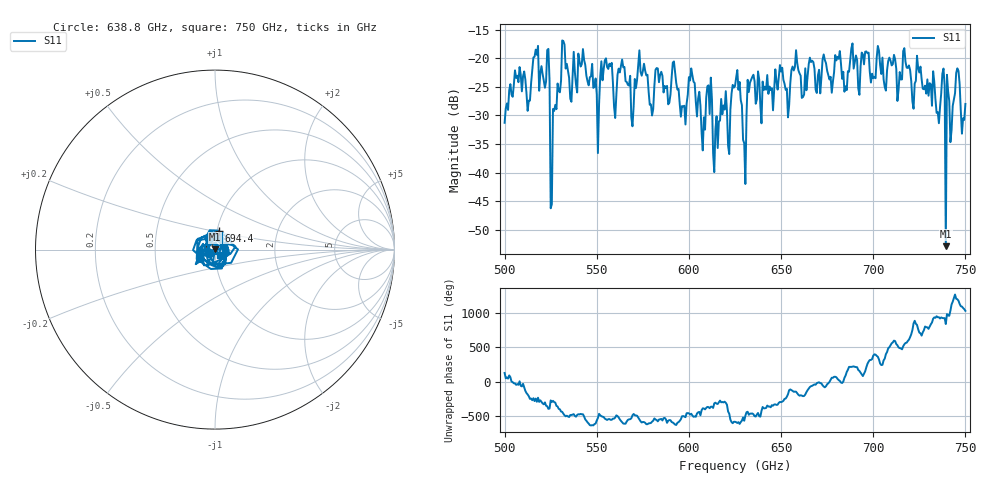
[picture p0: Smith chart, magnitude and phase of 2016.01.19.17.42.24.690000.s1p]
!Created with skrf (http://scikit-rf.org).
# GHz S RI R 50.0
!freq ReS11 ImS11
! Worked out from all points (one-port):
!   401 points, 500 GHz to 750 GHz, reference 50 ohm
!   lowest |S11| = -52.8 dB at 739.4 GHz (marker M1), VSWR 1.00, Z = 49.9 + j0.204 ohm
!   |S11| at or under -10 dB: start of sweep to end of sweep
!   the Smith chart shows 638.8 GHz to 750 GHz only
!   S11 on the Smith chart (normalised r, x): 638.8 GHz: 0.93, -0.03; 694.4 GHz: 1.02, +0.22; 750 GHz: 1.05, -0.06
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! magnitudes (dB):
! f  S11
! 500 GHz  -31.3
! 506.9 GHz  -23.1
! 513.1 GHz  -27.4
! 516.9 GHz  -18.5
! 523.1 GHz  -18.6
! 526.2 GHz  -28.9
! 531.2 GHz  -16.9
! 550 GHz  -26.4
! 562.5 GHz  -22.5
! 570 GHz  -28.5
! 573.8 GHz  -22.4
! 579.4 GHz  -28.1
! 593.8 GHz  -25.5
! 601.9 GHz  -23.0
! 607.5 GHz  -36.1
! 611.2 GHz  -29.8
! 614.4 GHz  -32.4
! 625 GHz  -24.9
! 630 GHz  -34.9
! 633.1 GHz  -24.3
! 638.8 GHz  -28.3
! 656.2 GHz  -21.5
! 687.5 GHz  -20.4
! 694.4 GHz  -19.3
! 718.8 GHz  -21.7
! 739.4 GHz  -52.8
! 745.6 GHz  -21.8
! 750 GHz  -28.0
